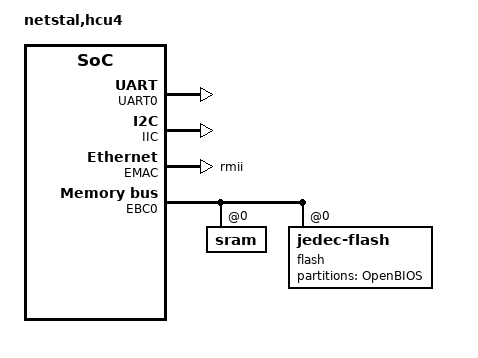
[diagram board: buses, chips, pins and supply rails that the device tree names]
/*
* Device Tree Source for Netstal Maschinen HCU4
* based on the IBM Walnut
*
* Copyright 2008
* Niklaus Giger <niklaus.giger@member.fsf.org>
*
* Copyright 2007 IBM Corp.
* Josh Boyer <jwboyer@linux.vnet.ibm.com>
*
* This file is licensed under the terms of the GNU General Public
* License version 2.  This program is licensed "as is" without
* any warranty of any kind, whether express or implied.
*/

/dts-v1/;

/ {
	#address-cells = <0x1>;
	#size-cells = <0x1>;
	model = "netstal,hcu4";
	compatible = "netstal,hcu4";
	dcr-parent = <0x1>;

	aliases {
		ethernet0 = "/plb/opb/ethernet@ef600800";
		serial0 = "/plb/opb/serial@ef600300";
	};

	cpus {
		#address-cells = <0x1>;
		#size-cells = <0x0>;

		cpu@0 {
			device_type = "cpu";
			model = "PowerPC,405GPr";
			reg = <0x0>;
			clock-frequency = <0>;		/* Filled in by U-Boot */
			timebase-frequency = <0x0>;	/* Filled in by U-Boot */
			i-cache-line-size = <0x20>;
			d-cache-line-size = <0x20>;
			i-cache-size = <0x4000>;
			d-cache-size = <0x4000>;
			dcr-controller;
			dcr-access-method = "native";
			linux,phandle = <0x1>;
		};
	};

	memory {
		device_type = "memory";
		reg = <0x0 0x0>;	/* Filled in by U-Boot */
	};

	UIC0: interrupt-controller {
		compatible = "ibm,uic";
		interrupt-controller;
		cell-index = <0x0>;
		dcr-reg = <0xc0 0x9>;
		#address-cells = <0x0>;
		#size-cells = <0x0>;
		#interrupt-cells = <0x2>;
		linux,phandle = <0x2>;
	};

	plb {
		compatible = "ibm,plb3";
		#address-cells = <0x1>;
		#size-cells = <0x1>;
		ranges;
		clock-frequency = <0x0>;	/* Filled in by U-Boot */

		SDRAM0: memory-controller {
			compatible = "ibm,sdram-405gp";
			dcr-reg = <0x10 0x2>;
		};

		MAL: mcmal {
			compatible = "ibm,mcmal-405gp", "ibm,mcmal";
			dcr-reg = <0x180 0x62>;
			num-tx-chans = <0x1>;
			num-rx-chans = <0x1>;
			interrupt-parent = <0x2>;
			interrupts = <0xb 0x4 0xc 0x4 0xa 0x4 0xd 0x4 0xe 0x4>;
			linux,phandle = <0x3>;
		};

		POB0: opb {
			compatible = "ibm,opb-405gp", "ibm,opb";
			#address-cells = <0x1>;
			#size-cells = <0x1>;
			ranges = <0xef600000 0xef600000 0xa00000>;
			dcr-reg = <0xa0 0x5>;
			clock-frequency = <0x0>;	/* Filled in by U-Boot */

			UART0: serial@ef600300 {
				device_type = "serial";
				compatible = "ns16550";
				reg = <0xef600300 0x8>;
				virtual-reg = <0xef600300>;
				clock-frequency = <0x0>;/* Filled in by U-Boot */
				current-speed = <0>;	/* Filled in by U-Boot */
				interrupt-parent = <0x2>;
				interrupts = <0x0 0x4>;
			};

			IIC: i2c@ef600500 {
				compatible = "ibm,iic-405gp", "ibm,iic";
				reg = <0xef600500 0x11>;
				interrupt-parent = <0x2>;
				interrupts = <0x2 0x4>;
			};

			GPIO: gpio@ef600700 {
				compatible = "ibm,gpio-405gp";
				reg = <0xef600700 0x20>;
			};

			EMAC: ethernet@ef600800 {
				device_type = "network";
				compatible = "ibm,emac-405gp", "ibm,emac";
				interrupt-parent = <0x2>;
				interrupts = <0xf 0x4 0x9 0x4>;
				local-mac-address = [00 00 00 00 00 00];
				reg = <0xef600800 0x70>;
				mal-device = <0x3>;
				mal-tx-channel = <0x0>;
				mal-rx-channel = <0x0>;
				cell-index = <0x0>;
				max-frame-size = <0x5dc>;
				rx-fifo-size = <0x1000>;
				tx-fifo-size = <0x800>;
				phy-mode = "rmii";
				phy-map = <0x1>;
			};
		};

		EBC0: ebc {
			compatible = "ibm,ebc-405gp", "ibm,ebc";
			dcr-reg = <0x12 0x2>;
			#address-cells = <0x2>;
			#size-cells = <0x1>;
			clock-frequency = <0x0>;	/* Filled in by U-Boot */

			sram@0,0 {
				reg = <0x0 0x0 0x80000>;
			};

			flash@0,80000 {
				compatible = "jedec-flash";
				bank-width = <0x1>;
				reg = <0x0 0x80000 0x80000>;
				#address-cells = <0x1>;
				#size-cells = <0x1>;

				partition@0 {
					label = "OpenBIOS";
					reg = <0x0 0x80000>;
					read-only;
				};
			};
		};
	};

	chosen {
		linux,stdout-path = "/plb/opb/serial@ef600300";
	};
};
